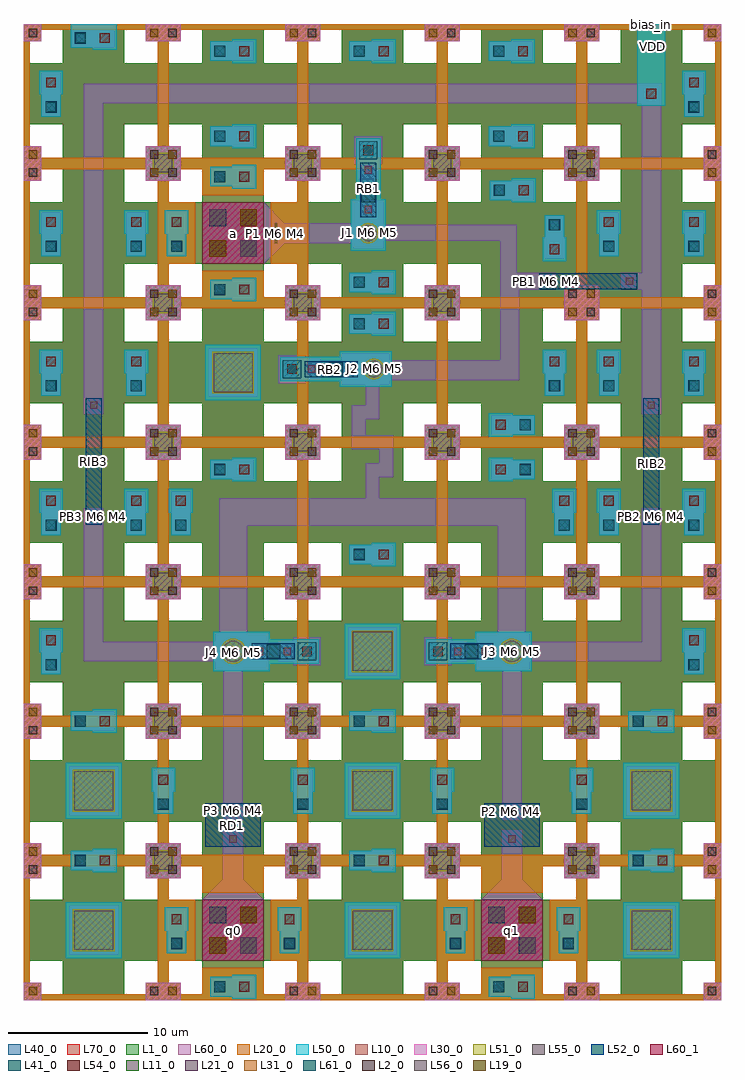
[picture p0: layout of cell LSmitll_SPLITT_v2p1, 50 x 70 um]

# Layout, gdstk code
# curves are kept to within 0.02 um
from math import pi, radians
import gdstk
lib = gdstk.Library(unit=1e-6, precision=1e-09)
def R(c, l, rs):  # rectangles x0, y0, x1, y1
    for r in rs: c.add(gdstk.rectangle(r[:2], r[2:], *l))
def P(c, l, *ps):  # polygons
    for p in ps: c.add(gdstk.Polygon(p, *l))
L1_0 = (1, 0)
L2_0 = (2, 0)
L10_0 = (10, 0)
L11_0 = (11, 0)
L19_0 = (19, 0)
L20_0 = (20, 0)
L21_0 = (21, 0)
L30_0 = (30, 0)
L31_0 = (31, 0)
L40_0 = (40, 0)
L41_0 = (41, 0)
L50_0 = (50, 0)
L51_0 = (51, 0)
L52_0 = (52, 0)
L54_0 = (54, 0)
L55_0 = (55, 0)
L56_0 = (56, 0)
L60_0 = (60, 0)
L60_1 = (60, 1)
L61_0 = (61, 0)
L70_0 = (70, 0)

ls_ib_185 = lib.new_cell('ls_ib_185')
R(ls_ib_185, L52_0, [(-0.575,0,0.575,9.075)])
R(ls_ib_185, L56_0, [(-0.26,0.29,0.26,0.81), (-0.26,8.29,0.26,8.81)])
R(ls_ib_185, L60_0, [(-0.625,-0.1,0.625,1.175), (-0.625,7.925,0.625,9.175)])

ls_fakejj_3umx3um = lib.new_cell('ls_FakeJJ_3umx3um')
R(ls_fakejj_3umx3um, L40_0, [(-2,-2,2,2)])
R(ls_fakejj_3umx3um, L50_0, [(-2,-2,2,2)])
R(ls_fakejj_3umx3um, L51_0, [(-1.5,-1.5,1.5,1.5)])
R(ls_fakejj_3umx3um, L55_0, [(-1.4,-1.4,1.4,1.4)])
R(ls_fakejj_3umx3um, L60_0, [(-1.75,-1.75,1.75,1.75)])

ls_conn_m4m5m6m7 = lib.new_cell('ls_conn_M4M5M6M7')
R(ls_conn_m4m5m6m7, L40_0, [(0,0,1.4,1.4)])
R(ls_conn_m4m5m6m7, L41_0, [(0.3,0.3,1.1,1.1)])
P(ls_conn_m4m5m6m7, L50_0, [(1.6,-0.15),(1.6,0),(0,0),(0,1.4),(1.6,1.4),(1.6,1.55),(3.3,1.55),(3.3,-0.15)])
R(ls_conn_m4m5m6m7, L54_0, [(2.1,0.35,2.8,1.05)])
R(ls_conn_m4m5m6m7, L60_0, [(0,0,3.15,1.4)])
R(ls_conn_m4m5m6m7, L61_0, [(0.35,0.35,1.05,1.05)])
R(ls_conn_m4m5m6m7, L70_0, [(0,0,1.4,1.4)])

ls_conn_m5m6m7 = lib.new_cell('ls_conn_M5M6M7')
R(ls_conn_m5m6m7, L50_0, [(-0.5,-0.5,1.2,1.2)])
R(ls_conn_m5m6m7, L54_0, [(0,0,0.7,0.7)])
R(ls_conn_m5m6m7, L60_0, [(-0.65,-0.65,1.35,1.35)])
R(ls_conn_m5m6m7, L61_0, [(-0.3,-0.3,1,1)])
R(ls_conn_m5m6m7, L70_0, [(-0.65,-0.65,1.35,1.35)])

ls_jj_166_sg = lib.new_cell('ls_jj_166_sg')
R(ls_jj_166_sg, L41_0, [(-0.5,2.25,0.5,3.25)])
R(ls_jj_166_sg, L50_0, [(-1.275,-1.275,1.275,2.45), (-0.875,2.45,0.875,6.725)])
P(ls_jj_166_sg, L51_0, [(0,-0.745),(-0.285,-0.69),(-0.53,-0.525),(-0.69,-0.285),(-0.745,0),(-0.69,0.29),(-0.53,0.53),(-0.285,0.695),(0,0.75),(0.285,0.695),(0.53,0.53),(0.69,0.29),(0.745,0),(0.69,-0.285),(0.53,-0.525),(0.285,-0.69)])
R(ls_jj_166_sg, L52_0, [(-0.575,1.175,0.575,4.975)])
P(ls_jj_166_sg, L55_0, [(0,-0.6),(-0.23,-0.57),(-0.42,-0.43),(-0.55,-0.23),(-0.6,0),(-0.55,0.23),(-0.42,0.42),(-0.23,0.55),(0,0.61),(0.23,0.55),(0.42,0.42),(0.55,0.23),(0.6,0),(0.55,-0.23),(0.42,-0.43),(0.23,-0.57)])
R(ls_jj_166_sg, L56_0, [(-0.26,1.45,0.26,1.97), (-0.26,4.19,0.26,4.71)])
R(ls_jj_166_sg, L60_0, [(-1.125,-1.125,1.125,2.35), (-0.725,3.825,0.725,6.575)])
ls_jj_166_sg.add(gdstk.Reference(ls_conn_m5m6m7, (-0.35,5.525)))

ls_jj_160_sg = lib.new_cell('ls_jj_160_sg')
R(ls_jj_160_sg, L41_0, [(-0.5,2.225,0.5,3.225)])
R(ls_jj_160_sg, L50_0, [(-1.25,-1.25,1.25,2.425), (-0.875,2.425,0.875,6.8)])
P(ls_jj_160_sg, L51_0, [(0,-0.735),(-0.28,-0.68),(-0.52,-0.52),(-0.68,-0.28),(-0.735,0),(-0.68,0.28),(-0.52,0.52),(-0.28,0.68),(0,0.735),(0.28,0.68),(0.52,0.52),(0.68,0.28),(0.735,0),(0.68,-0.28),(0.52,-0.52),(0.28,-0.68)])
R(ls_jj_160_sg, L52_0, [(-0.575,1.15,0.575,5.05)])
P(ls_jj_160_sg, L55_0, [(0,-0.58),(-0.22,-0.54),(-0.41,-0.41),(-0.54,-0.22),(-0.58,0),(-0.54,0.23),(-0.41,0.42),(-0.22,0.54),(0,0.59),(0.22,0.54),(0.41,0.42),(0.54,0.23),(0.58,0),(0.54,-0.22),(0.41,-0.41),(0.22,-0.54)])
R(ls_jj_160_sg, L56_0, [(-0.26,1.43,0.26,1.95), (-0.26,4.26,0.26,4.78)])
R(ls_jj_160_sg, L60_0, [(-1.1,-1.1,1.1,2.325), (-0.725,3.875,0.725,6.65)])
ls_jj_160_sg.add(gdstk.Reference(ls_conn_m5m6m7, (-0.35,5.6)))

ls_tr_u_m4 = lib.new_cell('ls_tr_u_M4')
P(ls_tr_u_m4, L1_0, [(0,0),(0,10),(1.25,10),(1.25,8.75),(0.4,8.75),(0.4,1.25),(1.25,1.25),(1.25,0.4),(2.8,0.4),(2.8,2.8),(0.4,2.8),(0.4,7.2),(2.8,7.2),(2.8,9.6),(1.25,9.6),(1.25,10),(7.2,10),(7.2,0.4),(8.75,0.4),(8.75,1.25),(9.6,1.25),(9.6,2.8),(7.2,2.8),(7.2,7.2),(9.6,7.2),(9.6,8.75),(8.75,8.75),(8.75,9.6),(7.2,9.6),(7.2,10),(10,10),(10,0)])
R(ls_tr_u_m4, L2_0, [(9.05,0.35,9.65,0.95), (0.35,9.05,0.95,9.65)])
R(ls_tr_u_m4, L10_0, [(0,0,1.25,1.25), (8.75,0,10,1.25), (0,8.75,1.25,10), (8.75,8.75,10,10)])
R(ls_tr_u_m4, L11_0, [(0.35,0.35,0.95,0.95), (9.05,9.05,9.65,9.65)])
P(ls_tr_u_m4, L20_0, [(0,0),(0,10),(1.25,10),(1.25,8.75),(0.4,8.75),(0.4,1.25),(1.25,1.25),(1.25,0.4),(8.75,0.4),(8.75,1.25),(9.6,1.25),(9.6,8.75),(8.75,8.75),(8.75,9.6),(1.25,9.6),(1.25,10),(10,10),(10,0)])
R(ls_tr_u_m4, L21_0, [(9.05,0.35,9.65,0.95), (0.35,9.05,0.95,9.65)])
R(ls_tr_u_m4, L30_0, [(0,0,1.25,1.25), (8.75,0,10,1.25), (0,8.75,1.25,10), (8.75,8.75,10,10)])
R(ls_tr_u_m4, L31_0, [(0.35,0.35,0.95,0.95), (9.05,9.05,9.65,9.65)])
P(ls_tr_u_m4, L40_0, [(0,0),(0,10),(1.25,10),(1.25,8.75),(0.4,8.75),(0.4,1.25),(1.25,1.25),(1.25,0.4),(2.8,0.4),(2.8,2.8),(0.4,2.8),(0.4,7.2),(2.8,7.2),(2.8,9.6),(1.25,9.6),(1.25,10),(7.2,10),(7.2,0.4),(8.75,0.4),(8.75,1.25),(9.6,1.25),(9.6,2.8),(7.2,2.8),(7.2,7.2),(9.6,7.2),(9.6,8.75),(8.75,8.75),(8.75,9.6),(7.2,9.6),(7.2,10),(10,10),(10,0)])

ls_tr_m7 = lib.new_cell('ls_tr_M7')
P(ls_tr_m7, L70_0, [(0,0),(0,10),(1.25,10),(1.25,8.75),(0.4,8.75),(0.4,1.25),(1.25,1.25),(1.25,0.4),(2.8,0.4),(2.8,2.8),(0.4,2.8),(0.4,7.2),(2.8,7.2),(2.8,9.6),(1.25,9.6),(1.25,10),(7.2,10),(7.2,0.4),(8.75,0.4),(8.75,1.25),(9.6,1.25),(9.6,2.8),(7.2,2.8),(7.2,7.2),(9.6,7.2),(9.6,8.75),(8.75,8.75),(8.75,9.6),(7.2,9.6),(7.2,10),(10,10),(10,0)])

ls_fakejj_1p5x1p5um = lib.new_cell('ls_FakeJJ_1p5x1p5um')
R(ls_fakejj_1p5x1p5um, L40_0, [(-1.25,-1.25,1.25,1.25)])
R(ls_fakejj_1p5x1p5um, L50_0, [(-1.25,-1.25,1.25,1.25)])
R(ls_fakejj_1p5x1p5um, L51_0, [(-0.75,-0.75,0.75,0.75)])
R(ls_fakejj_1p5x1p5um, L55_0, [(-0.65,-0.65,0.65,0.65)])
R(ls_fakejj_1p5x1p5um, L60_0, [(-1,-1,1,1)])

ls_ib_255 = lib.new_cell('ls_ib_255')
R(ls_ib_255, L52_0, [(-0.575,0,0.575,7.025)])
R(ls_ib_255, L56_0, [(-0.26,0.29,0.26,0.81), (-0.26,6.22,0.26,6.74)])
R(ls_ib_255, L60_0, [(-0.625,-0.1,0.625,1.175), (-0.625,5.85,0.625,7.125)])

ls_conn_m5m6 = lib.new_cell('ls_conn_M5M6')
R(ls_conn_m5m6, L50_0, [(0,0,1.7,1.7)])
R(ls_conn_m5m6, L54_0, [(0.5,0.5,1.2,1.2)])
R(ls_conn_m5m6, L60_0, [(0.15,0.15,1.55,1.55)])

ls_tr_ptl_conn = lib.new_cell('ls_tr_ptl_conn')
P(ls_tr_ptl_conn, L1_0, [(0,0),(0,10),(1.25,10),(1.25,8.75),(0.4,8.75),(0.4,1.25),(1.25,1.25),(1.25,0.4),(2.8,0.4),(2.8,2.8),(0.4,2.8),(0.4,7.2),(2.8,7.2),(2.8,9.6),(1.25,9.6),(1.25,10),(7.2,10),(7.2,0.4),(8.75,0.4),(8.75,1.25),(9.6,1.25),(9.6,2.8),(7.2,2.8),(7.2,7.2),(9.6,7.2),(9.6,8.75),(8.75,8.75),(8.75,9.6),(7.2,9.6),(7.2,10),(10,10),(10,0)])
R(ls_tr_ptl_conn, L2_0, [(9.05,0.35,9.65,0.95), (0.35,9.05,0.95,9.65)])
R(ls_tr_ptl_conn, L10_0, [(0,0,1.25,1.25), (8.75,0,10,1.25), (2.8,2.8,7.2,7.2), (0,8.75,1.25,10), (8.75,8.75,10,10)])
R(ls_tr_ptl_conn, L11_0, [(0.35,0.35,0.95,0.95), (3.3,3.3,4.5,4.5), (5.5,5.5,6.7,6.7), (9.05,9.05,9.65,9.65)])
R(ls_tr_ptl_conn, L20_0, [(2.8,2.8,7.2,7.2)])
P(ls_tr_ptl_conn, L20_0, [(0,0),(0,10),(7.2,10),(7.2,7.7),(2.8,7.7),(2.8,9.6),(1.25,9.6),(1.25,8.75),(0.4,8.75),(0.4,7.2),(2.3,7.2),(2.3,2.8),(0.4,2.8),(0.4,1.25),(1.25,1.25),(1.25,0.4),(2.8,0.4),(2.8,2.3),(7.2,2.3),(7.2,0.4),(8.75,0.4),(8.75,1.25),(9.6,1.25),(9.6,2.8),(7.7,2.8),(7.7,7.2),(9.6,7.2),(9.6,8.75),(8.75,8.75),(8.75,9.6),(7.2,9.6),(7.2,10),(10,10),(10,0)])
R(ls_tr_ptl_conn, L21_0, [(9.05,0.35,9.65,0.95), (5.5,3.3,6.7,4.5), (3.3,5.5,4.5,6.7), (0.35,9.05,0.95,9.65)])
R(ls_tr_ptl_conn, L30_0, [(0,0,1.25,1.25), (8.75,0,10,1.25), (2.8,2.8,7.2,7.2), (0,8.75,1.25,10), (8.75,8.75,10,10)])
R(ls_tr_ptl_conn, L31_0, [(0.35,0.35,0.95,0.95), (3.3,3.3,4.5,4.5), (5.5,5.5,6.7,6.7), (9.05,9.05,9.65,9.65)])
R(ls_tr_ptl_conn, L40_0, [(2.8,2.8,7.2,7.2)])
P(ls_tr_ptl_conn, L40_0, [(0,0),(0,10),(7.2,10),(7.2,7.7),(2.8,7.7),(2.8,9.6),(1.25,9.6),(1.25,8.75),(0.4,8.75),(0.4,7.2),(2.3,7.2),(2.3,2.8),(0.4,2.8),(0.4,1.25),(1.25,1.25),(1.25,0.4),(2.8,0.4),(2.8,2.3),(7.2,2.3),(7.2,0.4),(8.75,0.4),(8.75,1.25),(9.6,1.25),(9.6,2.8),(7.7,2.8),(7.7,7.2),(9.6,7.2),(9.6,8.75),(8.75,8.75),(8.75,9.6),(7.2,9.6),(7.2,10),(10,10),(10,0)])
R(ls_tr_ptl_conn, L41_0, [(5.5,3.3,6.7,4.5), (3.3,5.5,4.5,6.7)])
R(ls_tr_ptl_conn, L50_0, [(2.8,2.8,7.2,7.2)])
R(ls_tr_ptl_conn, L54_0, [(3.3,3.3,4.5,4.5), (5.5,5.5,6.7,6.7)])
R(ls_tr_ptl_conn, L60_0, [(2.8,2.8,7.2,7.2)])
P(ls_tr_ptl_conn, L70_0, [(0,0),(0,10),(1.25,10),(1.25,8.75),(0.4,8.75),(0.4,1.25),(1.25,1.25),(1.25,0.4),(2.8,0.4),(2.8,2.8),(0.4,2.8),(0.4,7.2),(2.8,7.2),(2.8,9.6),(1.25,9.6),(1.25,10),(7.2,10),(7.2,0.4),(8.75,0.4),(8.75,1.25),(9.6,1.25),(9.6,2.8),(7.2,2.8),(7.2,7.2),(9.6,7.2),(9.6,8.75),(8.75,8.75),(8.75,9.6),(7.2,9.6),(7.2,10),(10,10),(10,0)])

ls_jj_250_sg = lib.new_cell('ls_jj_250_sg')
R(ls_jj_250_sg, L41_0, [(-0.5,2.4,0.5,3.4)])
R(ls_jj_250_sg, L50_0, [(-1.425,-1.425,1.425,2.625), (-0.875,2.625,0.875,6.175)])
P(ls_jj_250_sg, L51_0, [(0,-0.91),(-0.18,-0.895),(-0.35,-0.84),(-0.645,-0.645),(-0.84,-0.35),(-0.91,0),(-0.895,0.18),(-0.84,0.35),(-0.645,0.645),(-0.35,0.84),(-0.18,0.895),(0,0.91),(0.18,0.895),(0.35,0.84),(0.645,0.645),(0.84,0.35),(0.895,0.18),(0.91,0),(0.84,-0.35),(0.645,-0.645),(0.35,-0.84),(0.18,-0.895)])
R(ls_jj_250_sg, L52_0, [(-0.575,1.35,0.575,4.425)])
R(ls_jj_250_sg, L54_0, [(-0.35,4.95,0.35,5.65)])
P(ls_jj_250_sg, L55_0, [(0,-0.76),(-0.15,-0.75),(-0.29,-0.7),(-0.54,-0.54),(-0.7,-0.29),(-0.75,-0.15),(-0.76,0),(-0.75,0.15),(-0.7,0.29),(-0.54,0.54),(-0.29,0.7),(-0.15,0.75),(0,0.76),(0.15,0.75),(0.29,0.7),(0.54,0.54),(0.7,0.29),(0.75,0.15),(0.76,0),(0.75,-0.15),(0.7,-0.29),(0.54,-0.54),(0.29,-0.7),(0.15,-0.75)])
R(ls_jj_250_sg, L56_0, [(-0.26,1.64,0.26,2.16), (-0.26,3.63,0.26,4.15)])
R(ls_jj_250_sg, L60_0, [(-1.275,-1.275,1.275,2.525), (-0.725,3.25,0.725,6.025)])
ls_jj_250_sg.add(gdstk.Reference(ls_conn_m5m6m7, (-0.35,4.95)))

ls_res_1p36 = lib.new_cell('ls_res_1p36')
R(ls_res_1p36, L52_0, [(-2,0,2,3.1)])
R(ls_res_1p36, L56_0, [(-0.26,0.29,0.26,0.81), (-0.26,2.3,0.26,2.82)])
R(ls_res_1p36, L60_0, [(-0.625,-0.1,0.625,1.175), (-0.625,1.925,0.625,3.2)])

lsmitll_splitt_v2p1 = lib.new_cell('LSmitll_SPLITT_v2p1')
R(lsmitll_splitt_v2p1, L1_0, [(37.2,50.4,42.8,52.8)])
R(lsmitll_splitt_v2p1, L19_0, [(14.74,13.3,15.26,13.82), (34.74,13.3,35.26,13.82), (4.74,34.39,5.26,34.91), (44.74,34.39,45.26,34.91), (37.24,51.29,37.76,51.81)])
R(lsmitll_splitt_v2p1, L40_0, [(37.2,50.4,42.8,52.8)])
R(lsmitll_splitt_v2p1, L50_0, [(44,64.15,46,70), (3.35,69.7,6.65,70)])
R(lsmitll_splitt_v2p1, L60_0, [(14.275,8.675,15.725,12.175), (34.275,8.675,35.725,12.175), (34.15,50.925,37.125,52.175), (44.075,50.925,44.35,52.175), (17.2,54.275,23.95,55.725), (3.35,69.7,6.5,70)])
P(lsmitll_splitt_v2p1, L60_0, [(17.2,52.8),(17.2,57.2),(18.675,55.725),(18.675,54.275)],
  [(32.8,7.2),(34.275,8.675),(35.725,8.675),(37.2,7.2)],
  [(12.8,7.2),(14.275,8.675),(15.725,8.675),(17.2,7.2)])
R(lsmitll_splitt_v2p1, L60_1, [(12.8,2.8,17.2,7.2), (32.8,2.8,37.2,7.2), (12.8,52.8,17.2,57.2)])
R(lsmitll_splitt_v2p1, L70_0, [(37.2,50.4,42.8,52.8)])
lsmitll_splitt_v2p1.add(gdstk.FlexPath([(25,44.15),(25,42.15),(24,42.15),(24,40),(26,40),(26,38),(25,38),(25,34.6)], 1, ends="flush", simple_path=True, layer=60, datatype=0))  # L60_0
lsmitll_splitt_v2p1.add(gdstk.FlexPath([(35,35),(35,26.25)], 2, ends="flush", simple_path=True, layer=60, datatype=0))  # L60_0
lsmitll_splitt_v2p1.add(gdstk.FlexPath([(25,35),(36,35)], 2, ends="flush", simple_path=True, layer=60, datatype=0))  # L60_0
lsmitll_splitt_v2p1.add(gdstk.FlexPath([(15,35),(15,26.25)], 2, ends="flush", simple_path=True, layer=60, datatype=0))  # L60_0
lsmitll_splitt_v2p1.add(gdstk.FlexPath([(25,35),(14,35)], 2, ends="flush", simple_path=True, layer=60, datatype=0))  # L60_0
lsmitll_splitt_v2p1.add(gdstk.FlexPath([(36.275,25),(45,25),(45,35.275)], 1.4, ends="flush", simple_path=True, layer=60, datatype=0))  # L60_0
lsmitll_splitt_v2p1.add(gdstk.FlexPath([(13.725,25),(5,25),(5,35.275)], 1.4, ends="flush", simple_path=True, layer=60, datatype=0))  # L60_0
lsmitll_splitt_v2p1.add(gdstk.FlexPath([(15,23.725),(15,12.925)], 1.4, ends="flush", simple_path=True, layer=60, datatype=0))  # L60_0
lsmitll_splitt_v2p1.add(gdstk.FlexPath([(35,12.925),(35,23.75)], 1.4, ends="flush", simple_path=True, layer=60, datatype=0))  # L60_0
lsmitll_splitt_v2p1.add(gdstk.FlexPath([(25.675,55.025),(35.3,55.025)], 1.15, ends="flush", simple_path=True, layer=60, datatype=0))  # L60_0
lsmitll_splitt_v2p1.add(gdstk.FlexPath([(34.75,51.925),(34.75,55.6)], 1.2, ends="flush", simple_path=True, layer=60, datatype=0))  # L60_0
lsmitll_splitt_v2p1.add(gdstk.FlexPath([(34.85,50.925),(34.85,44.45)], 1.35, ends="flush", simple_path=True, layer=60, datatype=0))  # L60_0
lsmitll_splitt_v2p1.add(gdstk.FlexPath([(35.475,45.175),(26.225,45.175)], 1.45, ends="flush", simple_path=True, layer=60, datatype=0))  # L60_0
lsmitll_splitt_v2p1.add(gdstk.FlexPath([(45,65),(5,65),(5,42)], 1.4, ends="flush", simple_path=True, layer=60, datatype=0))  # L60_0
lsmitll_splitt_v2p1.add(gdstk.FlexPath([(45,65.7),(45,42.025)], 1.4, ends="flush", simple_path=True, layer=60, datatype=0))  # L60_0
lsmitll_splitt_v2p1.add(gdstk.FlexPath([(18.075,55.725),(18.075,54.275)], 0.2, ends="flush", simple_path=True, layer=19, datatype=0))  # L19_0
lsmitll_splitt_v2p1.add(gdstk.Reference(ls_ib_185, (45,34.1)))
lsmitll_splitt_v2p1.add(gdstk.Reference(ls_ib_185, (5,34.1)))
lsmitll_splitt_v2p1.add(gdstk.Reference(ls_fakejj_3umx3um, (25,15)))
lsmitll_splitt_v2p1.add(gdstk.Reference(ls_conn_m4m5m6m7, (23.35,47.8)))
lsmitll_splitt_v2p1.add(gdstk.Reference(ls_conn_m4m5m6m7, (23.35,50.775)))
lsmitll_splitt_v2p1.add(gdstk.Reference(ls_jj_166_sg, (25.1,45.25), rotation=pi/2))
lsmitll_splitt_v2p1.add(gdstk.Reference(ls_jj_160_sg, (24.7,55)))
lsmitll_splitt_v2p1.add(gdstk.Reference(ls_tr_u_m4, (0,30)))
lsmitll_splitt_v2p1.add(gdstk.Reference(ls_tr_u_m4, (10,30)))
lsmitll_splitt_v2p1.add(gdstk.Reference(ls_tr_u_m4, (20,60)))
lsmitll_splitt_v2p1.add(gdstk.Reference(ls_tr_u_m4, (20,50)))
lsmitll_splitt_v2p1.add(gdstk.Reference(ls_tr_u_m4, (20,40)))
lsmitll_splitt_v2p1.add(gdstk.Reference(ls_tr_u_m4, (20,30)))
lsmitll_splitt_v2p1.add(gdstk.Reference(ls_tr_u_m4, (20,20)))
lsmitll_splitt_v2p1.add(gdstk.Reference(ls_tr_u_m4, (20,10)))
lsmitll_splitt_v2p1.add(gdstk.Reference(ls_tr_u_m4, (20,0)))
lsmitll_splitt_v2p1.add(gdstk.Reference(ls_tr_u_m4, (30,30)))
lsmitll_splitt_v2p1.add(gdstk.Reference(ls_tr_u_m4, (40,30)))
lsmitll_splitt_v2p1.add(gdstk.Reference(ls_tr_m7, (20,60)))
lsmitll_splitt_v2p1.add(gdstk.Reference(ls_tr_m7, (20,50)))
lsmitll_splitt_v2p1.add(gdstk.Reference(ls_tr_m7, (20,40)))
lsmitll_splitt_v2p1.add(gdstk.Reference(ls_tr_m7, (40,30)))
lsmitll_splitt_v2p1.add(gdstk.Reference(ls_tr_m7, (30,30)))
lsmitll_splitt_v2p1.add(gdstk.Reference(ls_tr_m7, (20,30)))
lsmitll_splitt_v2p1.add(gdstk.Reference(ls_tr_m7, (10,30)))
lsmitll_splitt_v2p1.add(gdstk.Reference(ls_tr_m7, (0,30)))
lsmitll_splitt_v2p1.add(gdstk.Reference(ls_tr_m7, (20,20)))
lsmitll_splitt_v2p1.add(gdstk.Reference(ls_tr_m7, (20,10)))
lsmitll_splitt_v2p1.add(gdstk.Reference(ls_tr_m7, (20,0)))
lsmitll_splitt_v2p1.add(gdstk.Reference(ls_conn_m4m5m6m7, (23.35,31.25)))
lsmitll_splitt_v2p1.add(gdstk.Reference(ls_conn_m4m5m6m7, (23.35,67.35)))
lsmitll_splitt_v2p1.add(gdstk.Reference(ls_conn_m4m5m6m7, (48.75,33.35), rotation=pi/2))
lsmitll_splitt_v2p1.add(gdstk.Reference(ls_conn_m4m5m6m7, (2.65,33.35), rotation=pi/2))
lsmitll_splitt_v2p1.add(gdstk.Reference(ls_fakejj_3umx3um, (25,5)))
lsmitll_splitt_v2p1.add(gdstk.Reference(ls_conn_m4m5m6m7, (39.45,33.35), rotation=pi/2))
lsmitll_splitt_v2p1.add(gdstk.Reference(ls_conn_m4m5m6m7, (42.65,33.35), rotation=pi/2))
lsmitll_splitt_v2p1.add(gdstk.Reference(ls_conn_m4m5m6m7, (8.75,33.35), rotation=pi/2))
lsmitll_splitt_v2p1.add(gdstk.Reference(ls_conn_m4m5m6m7, (11.95,33.35), rotation=pi/2))
lsmitll_splitt_v2p1.add(gdstk.Reference(ls_conn_m4m5m6m7, (23.35,19.3)))
lsmitll_splitt_v2p1.add(gdstk.Reference(ls_conn_m4m5m6m7, (23.35,9.3)))
lsmitll_splitt_v2p1.add(gdstk.Reference(ls_fakejj_3umx3um, (25,25)))
lsmitll_splitt_v2p1.add(gdstk.Reference(ls_conn_m4m5m6m7, (37.35,56.3), rotation=3*pi/2))
lsmitll_splitt_v2p1.add(gdstk.Reference(ls_conn_m4m5m6m7, (38.75,43.35), rotation=pi/2))
lsmitll_splitt_v2p1.add(gdstk.Reference(ls_tr_u_m4, (30,40)))
lsmitll_splitt_v2p1.add(gdstk.Reference(ls_tr_u_m4, (30,50)))
lsmitll_splitt_v2p1.add(gdstk.Reference(ls_tr_u_m4, (30,60)))
lsmitll_splitt_v2p1.add(gdstk.Reference(ls_tr_u_m4, (40,60)))
lsmitll_splitt_v2p1.add(gdstk.Reference(ls_tr_u_m4, (40,50)))
lsmitll_splitt_v2p1.add(gdstk.Reference(ls_conn_m4m5m6m7, (33.4,57.375)))
lsmitll_splitt_v2p1.add(gdstk.Reference(ls_tr_u_m4, (40,40)))
lsmitll_splitt_v2p1.add(gdstk.Reference(ls_fakejj_1p5x1p5um, (30,60)))
lsmitll_splitt_v2p1.add(gdstk.Reference(ls_fakejj_1p5x1p5um, (40,60)))
lsmitll_splitt_v2p1.add(gdstk.Reference(ls_conn_m4m5m6m7, (33.35,67.35)))
lsmitll_splitt_v2p1.add(gdstk.Reference(ls_fakejj_1p5x1p5um, (40,40)))
lsmitll_splitt_v2p1.add(gdstk.Reference(ls_conn_m4m5m6m7, (33.35,61.25)))
lsmitll_splitt_v2p1.add(gdstk.Reference(ls_conn_m4m5m6m7, (48.75,43.35), rotation=pi/2))
lsmitll_splitt_v2p1.add(gdstk.Reference(ls_conn_m4m5m6m7, (42.65,43.35), rotation=pi/2))
lsmitll_splitt_v2p1.add(gdstk.Reference(ls_conn_m4m5m6m7, (42.65,53.35), rotation=pi/2))
lsmitll_splitt_v2p1.add(gdstk.Reference(ls_conn_m4m5m6m7, (48.75,53.35), rotation=pi/2))
lsmitll_splitt_v2p1.add(gdstk.Reference(ls_conn_m4m5m6m7, (48.75,63.35), rotation=pi/2))
lsmitll_splitt_v2p1.add(gdstk.Reference(ls_fakejj_1p5x1p5um, (30,40)))
lsmitll_splitt_v2p1.add(gdstk.Reference(ls_tr_m7, (30,60)))
lsmitll_splitt_v2p1.add(gdstk.Reference(ls_tr_m7, (40,60)))
lsmitll_splitt_v2p1.add(gdstk.Reference(ls_conn_m4m5m6m7, (36.65,37.35), rotation=pi, x_reflection=True))
lsmitll_splitt_v2p1.add(gdstk.Reference(ls_tr_m7, (40,50)))
lsmitll_splitt_v2p1.add(gdstk.Reference(ls_tr_m7, (30,50)))
lsmitll_splitt_v2p1.add(gdstk.Reference(ls_fakejj_1p5x1p5um, (30,50)))
lsmitll_splitt_v2p1.add(gdstk.Reference(ls_ib_255, (36.95,51.55), rotation=3*pi/2))
lsmitll_splitt_v2p1.add(gdstk.Reference(ls_tr_m7, (30,40)))
lsmitll_splitt_v2p1.add(gdstk.Reference(ls_tr_m7, (40,40)))
lsmitll_splitt_v2p1.add(gdstk.Reference(ls_conn_m5m6, (44.15,64.15)))
lsmitll_splitt_v2p1.add(gdstk.Reference(ls_conn_m4m5m6m7, (36.65,40.55), rotation=pi, x_reflection=True))
lsmitll_splitt_v2p1.add(gdstk.Reference(ls_conn_m4m5m6m7, (3.35,68.3)))
lsmitll_splitt_v2p1.add(gdstk.Reference(ls_conn_m4m5m6m7, (13.35,61.25)))
lsmitll_splitt_v2p1.add(gdstk.Reference(ls_fakejj_1p5x1p5um, (10,50)))
lsmitll_splitt_v2p1.add(gdstk.Reference(ls_conn_m4m5m6m7, (13.35,58.35)))
lsmitll_splitt_v2p1.add(gdstk.Reference(ls_conn_m4m5m6m7, (13.35,50.25)))
lsmitll_splitt_v2p1.add(gdstk.Reference(ls_tr_ptl_conn, (10,50)))
lsmitll_splitt_v2p1.add(gdstk.Reference(ls_tr_m7, (0,60)))
lsmitll_splitt_v2p1.add(gdstk.Reference(ls_tr_m7, (10,60)))
lsmitll_splitt_v2p1.add(gdstk.Reference(ls_tr_u_m4, (10,40)))
lsmitll_splitt_v2p1.add(gdstk.Reference(ls_tr_u_m4, (0,50)))
lsmitll_splitt_v2p1.add(gdstk.Reference(ls_tr_u_m4, (10,60)))
lsmitll_splitt_v2p1.add(gdstk.Reference(ls_conn_m4m5m6m7, (2.65,63.35), rotation=pi/2))
lsmitll_splitt_v2p1.add(gdstk.Reference(ls_conn_m4m5m6m7, (2.65,53.35), rotation=pi/2))
lsmitll_splitt_v2p1.add(gdstk.Reference(ls_conn_m4m5m6m7, (2.65,43.35), rotation=pi/2))
lsmitll_splitt_v2p1.add(gdstk.Reference(ls_conn_m4m5m6m7, (8.75,43.35), rotation=pi/2))
lsmitll_splitt_v2p1.add(gdstk.Reference(ls_conn_m4m5m6m7, (8.75,53.35), rotation=pi/2))
lsmitll_splitt_v2p1.add(gdstk.Reference(ls_conn_m4m5m6m7, (11.65,53.35), rotation=pi/2))
lsmitll_splitt_v2p1.add(gdstk.Reference(ls_fakejj_1p5x1p5um, (20,50)))
lsmitll_splitt_v2p1.add(gdstk.Reference(ls_fakejj_1p5x1p5um, (20,40)))
lsmitll_splitt_v2p1.add(gdstk.Reference(ls_fakejj_3umx3um, (15,45)))
lsmitll_splitt_v2p1.add(gdstk.Reference(ls_conn_m4m5m6m7, (13.35,37.35)))
lsmitll_splitt_v2p1.add(gdstk.Reference(ls_tr_u_m4, (0,60)))
lsmitll_splitt_v2p1.add(gdstk.Reference(ls_tr_m7, (0,50)))
lsmitll_splitt_v2p1.add(gdstk.Reference(ls_fakejj_1p5x1p5um, (10,60)))
lsmitll_splitt_v2p1.add(gdstk.Reference(ls_fakejj_1p5x1p5um, (20,60)))
lsmitll_splitt_v2p1.add(gdstk.Reference(ls_tr_m7, (0,40)))
lsmitll_splitt_v2p1.add(gdstk.Reference(ls_tr_m7, (10,40)))
lsmitll_splitt_v2p1.add(gdstk.Reference(ls_tr_u_m4, (0,40)))
lsmitll_splitt_v2p1.add(gdstk.Reference(ls_fakejj_1p5x1p5um, (10,40)))
lsmitll_splitt_v2p1.add(gdstk.Reference(ls_conn_m4m5m6m7, (13.35,67.35)))
lsmitll_splitt_v2p1.add(gdstk.Reference(ls_fakejj_1p5x1p5um, (10,30)))
lsmitll_splitt_v2p1.add(gdstk.Reference(ls_fakejj_1p5x1p5um, (20,20)))
lsmitll_splitt_v2p1.add(gdstk.Reference(ls_fakejj_1p5x1p5um, (10,20)))
lsmitll_splitt_v2p1.add(gdstk.Reference(ls_fakejj_1p5x1p5um, (10,10)))
lsmitll_splitt_v2p1.add(gdstk.Reference(ls_fakejj_1p5x1p5um, (20,10)))
lsmitll_splitt_v2p1.add(gdstk.Reference(ls_tr_u_m4, (10,10)))
lsmitll_splitt_v2p1.add(gdstk.Reference(ls_conn_m4m5m6m7, (19.75,3.35), rotation=pi/2))
lsmitll_splitt_v2p1.add(gdstk.Reference(ls_conn_m4m5m6m7, (11.65,3.35), rotation=pi/2))
lsmitll_splitt_v2p1.add(gdstk.Reference(ls_conn_m4m5m6m7, (13.35,0.25)))
lsmitll_splitt_v2p1.add(gdstk.Reference(ls_tr_u_m4, (0,0)))
lsmitll_splitt_v2p1.add(gdstk.Reference(ls_fakejj_3umx3um, (5,15)))
lsmitll_splitt_v2p1.add(gdstk.Reference(ls_fakejj_3umx3um, (5,5)))
lsmitll_splitt_v2p1.add(gdstk.Reference(ls_tr_m7, (10,20)))
lsmitll_splitt_v2p1.add(gdstk.Reference(ls_tr_u_m4, (0,10)))
lsmitll_splitt_v2p1.add(gdstk.Reference(ls_tr_u_m4, (10,20)))
lsmitll_splitt_v2p1.add(gdstk.Reference(ls_tr_m7, (0,10)))
lsmitll_splitt_v2p1.add(gdstk.Reference(ls_tr_m7, (0,0)))
lsmitll_splitt_v2p1.add(gdstk.Reference(ls_tr_ptl_conn, (10,0)))
lsmitll_splitt_v2p1.add(gdstk.Reference(ls_jj_250_sg, (15,25), rotation=3*pi/2))
lsmitll_splitt_v2p1.add(gdstk.Reference(ls_res_1p36, (15,11)))
lsmitll_splitt_v2p1.add(gdstk.Reference(ls_conn_m4m5m6m7, (20.7,13.35), rotation=pi/2))
lsmitll_splitt_v2p1.add(gdstk.Reference(ls_conn_m4m5m6m7, (10.7,13.35), rotation=pi/2))
lsmitll_splitt_v2p1.add(gdstk.Reference(ls_conn_m4m5m6m7, (3.35,19.3)))
lsmitll_splitt_v2p1.add(gdstk.Reference(ls_conn_m4m5m6m7, (2.65,23.35), rotation=pi/2))
lsmitll_splitt_v2p1.add(gdstk.Reference(ls_fakejj_1p5x1p5um, (20,30)))
lsmitll_splitt_v2p1.add(gdstk.Reference(ls_conn_m4m5m6m7, (3.35,9.3)))
lsmitll_splitt_v2p1.add(gdstk.Reference(ls_tr_u_m4, (0,20)))
lsmitll_splitt_v2p1.add(gdstk.Reference(ls_tr_m7, (0,20)))
lsmitll_splitt_v2p1.add(gdstk.Reference(ls_tr_m7, (10,10)))
lsmitll_splitt_v2p1.add(gdstk.Reference(ls_conn_m4m5m6m7, (39.75,3.35), rotation=pi/2))
lsmitll_splitt_v2p1.add(gdstk.Reference(ls_res_1p36, (35,11)))
lsmitll_splitt_v2p1.add(gdstk.Reference(ls_conn_m4m5m6m7, (33.35,0.25)))
lsmitll_splitt_v2p1.add(gdstk.Reference(ls_tr_m7, (40,0)))
lsmitll_splitt_v2p1.add(gdstk.Reference(ls_tr_m7, (30,10)))
lsmitll_splitt_v2p1.add(gdstk.Reference(ls_tr_u_m4, (40,10)))
lsmitll_splitt_v2p1.add(gdstk.Reference(ls_tr_u_m4, (30,20)))
lsmitll_splitt_v2p1.add(gdstk.Reference(ls_fakejj_3umx3um, (45,5)))
lsmitll_splitt_v2p1.add(gdstk.Reference(ls_tr_u_m4, (40,20)))
lsmitll_splitt_v2p1.add(gdstk.Reference(ls_tr_u_m4, (40,0)))
lsmitll_splitt_v2p1.add(gdstk.Reference(ls_fakejj_1p5x1p5um, (30,30)))
lsmitll_splitt_v2p1.add(gdstk.Reference(ls_tr_u_m4, (30,10)))
lsmitll_splitt_v2p1.add(gdstk.Reference(ls_fakejj_1p5x1p5um, (40,30)))
lsmitll_splitt_v2p1.add(gdstk.Reference(ls_fakejj_1p5x1p5um, (40,20)))
lsmitll_splitt_v2p1.add(gdstk.Reference(ls_fakejj_1p5x1p5um, (30,20)))
lsmitll_splitt_v2p1.add(gdstk.Reference(ls_conn_m4m5m6m7, (40.7,13.35), rotation=pi/2))
lsmitll_splitt_v2p1.add(gdstk.Reference(ls_conn_m4m5m6m7, (30.7,13.35), rotation=pi/2))
lsmitll_splitt_v2p1.add(gdstk.Reference(ls_tr_m7, (30,20)))
lsmitll_splitt_v2p1.add(gdstk.Reference(ls_tr_m7, (40,20)))
lsmitll_splitt_v2p1.add(gdstk.Reference(ls_tr_m7, (40,10)))
lsmitll_splitt_v2p1.add(gdstk.Reference(ls_tr_ptl_conn, (30,0)))
lsmitll_splitt_v2p1.add(gdstk.Reference(ls_conn_m4m5m6m7, (48.75,23.35), rotation=pi/2))
lsmitll_splitt_v2p1.add(gdstk.Reference(ls_fakejj_1p5x1p5um, (30,10)))
lsmitll_splitt_v2p1.add(gdstk.Reference(ls_conn_m4m5m6m7, (43.35,19.3)))
lsmitll_splitt_v2p1.add(gdstk.Reference(ls_conn_m4m5m6m7, (43.35,9.3)))
lsmitll_splitt_v2p1.add(gdstk.Reference(ls_fakejj_1p5x1p5um, (40,10)))
lsmitll_splitt_v2p1.add(gdstk.Reference(ls_jj_250_sg, (35,25), rotation=pi/2))
lsmitll_splitt_v2p1.add(gdstk.Reference(ls_fakejj_3umx3um, (45,15)))
lsmitll_splitt_v2p1.add(gdstk.Reference(ls_conn_m4m5m6m7, (31.65,3.35), rotation=pi/2))
lsmitll_splitt_v2p1.add(gdstk.Label('P1 M6 M4', (18.075,54.975), layer=182, texttype=0))
lsmitll_splitt_v2p1.add(gdstk.Label('J1 M6 M5', (24.75,55.05), layer=182, texttype=0))
lsmitll_splitt_v2p1.add(gdstk.Label('PB1 M6 M4', (37.505,51.545), layer=182, texttype=0))
lsmitll_splitt_v2p1.add(gdstk.Label('J2 M6 M5', (25.125,45.3), layer=182, texttype=0))
lsmitll_splitt_v2p1.add(gdstk.Label('J4 M6 M5', (15,24.95), layer=182, texttype=0))
lsmitll_splitt_v2p1.add(gdstk.Label('PB3 M6 M4', (5,34.65), layer=182, texttype=0))
lsmitll_splitt_v2p1.add(gdstk.Label('P3 M6 M4', (15.01,13.57), layer=182, texttype=0))
lsmitll_splitt_v2p1.add(gdstk.Label('P2 M6 M4', (35,13.525), layer=182, texttype=0))
lsmitll_splitt_v2p1.add(gdstk.Label('J3 M6 M5', (35.025,25.025), layer=182, texttype=0))
lsmitll_splitt_v2p1.add(gdstk.Label('PB2 M6 M4', (45.025,34.65), layer=182, texttype=0))
lsmitll_splitt_v2p1.add(gdstk.Label('a', (15,55), layer=182, texttype=0))
lsmitll_splitt_v2p1.add(gdstk.Label('q0', (15,5), layer=182, texttype=0))
lsmitll_splitt_v2p1.add(gdstk.Label('q1', (35,5), layer=182, texttype=0))
lsmitll_splitt_v2p1.add(gdstk.Label('bias_in', (45,70), layer=182, texttype=0))
lsmitll_splitt_v2p1.add(gdstk.Label('a', (14.98,55.04), layer=60, texttype=1))
lsmitll_splitt_v2p1.add(gdstk.Label('q0', (15.1,4.88), layer=60, texttype=1))
lsmitll_splitt_v2p1.add(gdstk.Label('q1', (35.05,4.96), layer=60, texttype=1))
lsmitll_splitt_v2p1.add(gdstk.Label('RIB1', (40.51,51.54), layer=52, texttype=1))
lsmitll_splitt_v2p1.add(gdstk.Label('RIB2', (44.98,38.49), layer=52, texttype=1))
lsmitll_splitt_v2p1.add(gdstk.Label('RIB3', (4.96,38.59), layer=52, texttype=1))
lsmitll_splitt_v2p1.add(gdstk.Label('RD1', (14.98,12.55), layer=52, texttype=1))
lsmitll_splitt_v2p1.add(gdstk.Label('RD2', (35,12.55), layer=52, texttype=1))
lsmitll_splitt_v2p1.add(gdstk.Label('RB1', (24.7,58.18), layer=52, texttype=1))
lsmitll_splitt_v2p1.add(gdstk.Label('RB2', (21.94,45.24), layer=52, texttype=1))
lsmitll_splitt_v2p1.add(gdstk.Label('RB3', (32.09,25.01), layer=52, texttype=1))
lsmitll_splitt_v2p1.add(gdstk.Label('RB4', (17.95,24.96), layer=52, texttype=1))
lsmitll_splitt_v2p1.add(gdstk.Label('VDD', (45.11,68.38), layer=50, texttype=1))
lsmitll_splitt_v2p1.add(gdstk.Label('GND', (46.39,68.43), layer=40, texttype=1))

lib.write_gds('LSmitll_SPLITT_v2p1.gds')
